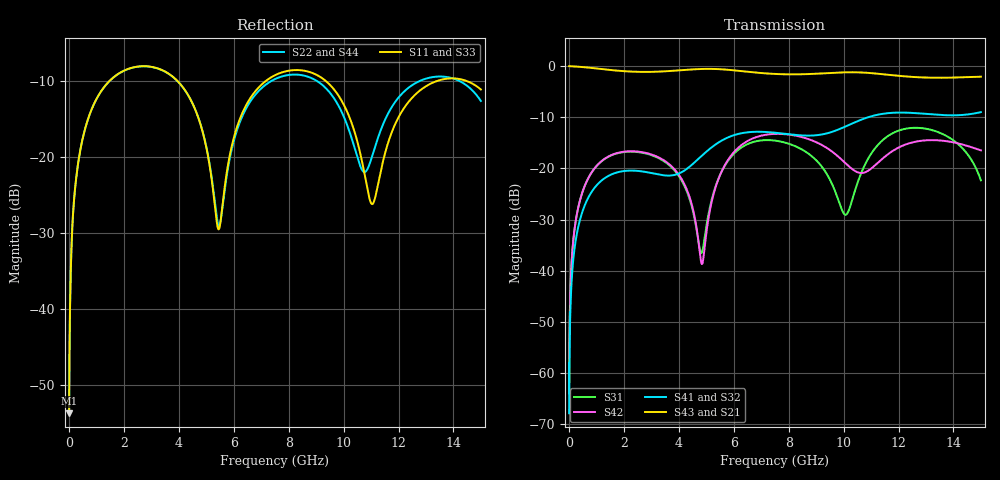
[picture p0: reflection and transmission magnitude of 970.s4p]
! Created with skrf 1.8.0 (http://scikit-rf.org).
# GHz S RI R 50.0
!freq ReS11 ImS11 ReS12 ImS12 ReS13 ImS13
! ReS14 ImS14
! ReS21 ImS21 ReS22 ImS22 ReS23 ImS23
! ReS24 ImS24
! ReS31 ImS31 ReS32 ImS32 ReS33 ImS33
! ReS34 ImS34
! ReS41 ImS41 ReS42 ImS42 ReS43 ImS43
! ReS44 ImS44
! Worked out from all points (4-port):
!   2499 points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, 5 MHz to 15 GHz, reference 50 ohm
!   strongest paths, dB at 5 MHz, 3.476 GHz, 7.19 GHz, 11.1 GHz, 15 GHz:
!     S43: 0.0, -1.0, -1.4, -1.4, -2.1
!     S21: 0.0, -1.0, -1.4, -1.4, -2.1
!     S41: -67.9, -21.4, -12.9, -9.7, -9.0
!     S32: -67.9, -21.4, -12.9, -9.7, -9.0
!     S42: -64.0, -18.5, -13.4, -19.6, -16.5
!     S31: -64.0, -18.7, -14.5, -16.4, -22.3
!   lowest |S11| = -53.7 dB at 5 MHz (marker M1), VSWR 1.00, Z = 50.2 + j0.126 ohm
!   |S11| at or under -10 dB: start of sweep to 1.463 GHz; 3.963 GHz to 7.153 GHz (3.19 GHz wide, 57.4 % of centre); 9.366 GHz to 13.37 GHz (4.002 GHz wide, 35.2 % of centre) (the widest 3 of 4)
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0.005  0.00165 0.00126  0.9983 -0.00321  8.18e-05 0.000626  -7.97e-05 -0.000397
       0.9983 -0.00321  0.00165 0.00126  -7.97e-05 -0.000397  8.19e-05 0.000626
       8.18e-05 0.000626  -7.97e-05 -0.000397  0.00165 0.00126  0.9983 -0.00321
       -7.97e-05 -0.000397  8.19e-05 0.000626  0.9983 -0.00321  0.00165 0.00126
0.3126303  0.0243 0.0827  0.9669 -0.1997  0.0106 0.0372  -0.00896 -0.0233
           0.9669 -0.1997  0.0242 0.0827  -0.00896 -0.0233  0.0108 0.0371
           0.0106 0.0372  -0.00896 -0.0233  0.0243 0.0827  0.9669 -0.1997
           -0.00896 -0.0233  0.0108 0.0371  0.9669 -0.1997  0.0242 0.0827
1.519383  0.2673 0.1822  0.5591 -0.7248  0.1188 0.0606  -0.0864 -0.00808
          0.5591 -0.7248  0.2666 0.1826  -0.0863 -0.00812  0.1213 0.0573
          0.1188 0.0606  -0.0863 -0.00812  0.2673 0.1821  0.5592 -0.7247
          -0.0864 -0.00808  0.1213 0.0573  0.5592 -0.7247  0.2665 0.1826
5.277199  0.0351 -0.0418  -0.9254 -0.1515  -0.0147 0.0576  -0.0245 0.1651
          -0.9254 -0.1515  0.0372 -0.0434  -0.0254 0.1651  -0.003 0.0574
          -0.0147 0.0576  -0.0254 0.1651  0.0339 -0.0408  -0.9255 -0.1514
          -0.0245 0.1651  -0.003 0.0574  -0.9255 -0.1514  0.038 -0.0422
8.47228  0.369 -0.0573  0.0187 0.8314  0.1506 -0.0312  0.1974 -0.0723
         0.0187 0.8314  0.3456 -0.0333  0.1976 -0.0706  0.149 -0.1374
         0.1506 -0.0312  0.1976 -0.0706  0.3687 -0.0563  0.0177 0.8317
         0.1974 -0.0723  0.149 -0.1374  0.0177 0.8317  0.3449 -0.033
11.19842  0.0554 0.0215  0.8447 -0.0217  0.1039 0.1266  -0.0259 -0.3319
          0.8447 -0.0217  0.1035 0.071  -0.0224 -0.3326  -0.0276 0.1069
          0.1039 0.1266  -0.0224 -0.3326  0.0528 0.024  0.8447 -0.0198
          -0.0259 -0.3319  -0.0276 0.1069  0.8447 -0.0198  0.1064 0.0722
15  0.2493 -0.1262  -0.388 -0.6853  0.0406 -0.0649  -0.2939 0.1991
    -0.388 -0.6853  0.1997 -0.1234  -0.2964 0.1956  -0.0379 -0.1452
    0.0406 -0.0649  -0.2964 0.1956  0.2522 -0.1209  -0.3831 -0.6883
    -0.2939 0.1991  -0.0379 -0.1452  -0.3831 -0.6883  0.1989 -0.125
